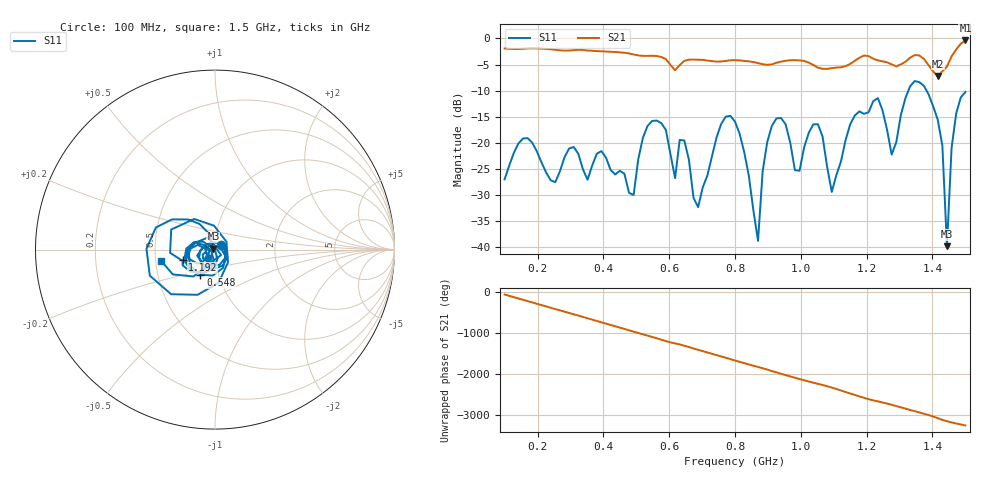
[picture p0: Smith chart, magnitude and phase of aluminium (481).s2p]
! NanoVNA-App
! Date: 2025-09-25 14:59:01
! Start: 100MHz Stop: 1,5GHz Points: 101
! S-Parameter data: F S11 S21 S12 S22
# Hz S RI R 50
!  Frequency  S11_Real  S11_Imag  S21_Real  S21_Imag  S12_Real  S12_Imag  S22_Real  S22_Imag
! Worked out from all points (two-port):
!   101 points, 100 MHz to 1.5 GHz, reference 50 ohm
!   highest |S21| = -0.39 dB at 1.5 GHz (marker M1); lowest = -7.2 dB at 1.416 GHz (marker M2)
!   |S21| within 3 dB of the highest: start of sweep to 564.3 MHz; 1.459 GHz to end of sweep (the widest 2 of 4)
!   lowest |S11| = -39.7 dB at 1.444 GHz (marker M3), VSWR 1.02, Z = 49.1 + j0.542 ohm
!   |S11| at or under -10 dB: start of sweep to 1.327 GHz; 1.382 GHz to end of sweep
!   S12 and S22 are empty: the file has one direction only
!   S11 on the Smith chart (normalised r, x): 100 MHz: 1.07, +0.06; 548 MHz: 0.82, -0.24; 1.192 GHz: 0.69, -0.08; 1.5 GHz: 0.53, -0.07
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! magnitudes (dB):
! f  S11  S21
! 100 MHz  -27.0  -1.9
! 156 MHz  -19.1  -2.0
! 338 MHz  -25.0  -2.2
! 492 MHz  -30.0  -3.1
! 548 MHz  -15.8  -3.3
! 576 MHz  -16.2  -3.5
! 688 MHz  -32.3  -4.1
! 800 MHz  -15.9  -4.2
! 870 MHz  -38.7  -4.7
! 912 MHz  -16.7  -5.0
! 996 MHz  -25.3  -4.2
! 1.038 GHz  -16.4  -5.1
! 1.094 GHz  -29.4  -5.7
! 1.192 GHz  -14.4  -3.3
! 1.234 GHz  -11.4  -4.2
! 1.276 GHz  -22.2  -5.0
! 1.346 GHz  -8.2  -3.2
! 1.416 GHz  -15.5  -7.2
! 1.43 GHz  -20.5  -6.3
! 1.444 GHz  -39.7  -5.4
! 1.458 GHz  -21.0  -3.4
! 1.5 GHz  -10.3  -0.4
